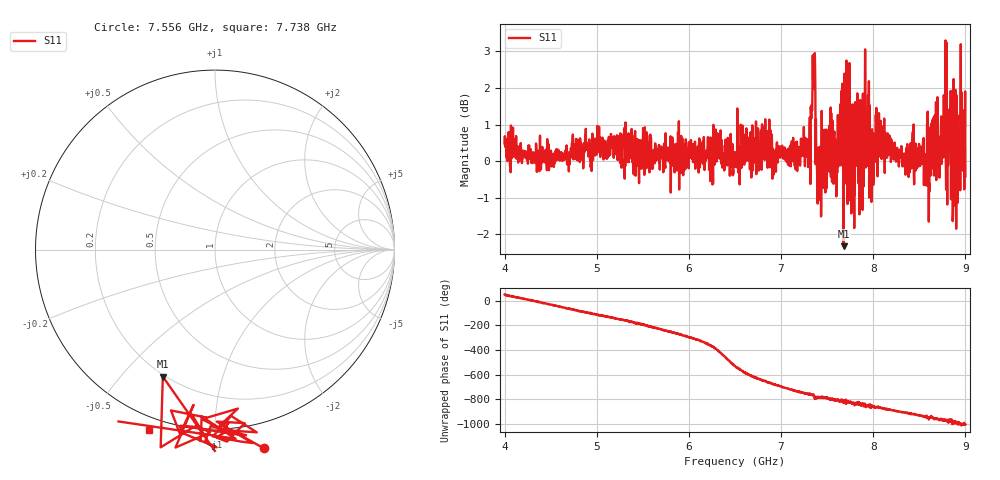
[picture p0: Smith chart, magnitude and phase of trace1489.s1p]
! Created with skrf 1.8.0 (http://scikit-rf.org).
# Hz S RI R 50.0
!freq ReS11 ImS11
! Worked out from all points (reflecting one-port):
!   1601 points, 4 GHz to 9 GHz, reference 50 ohm
!   lowest |S11| = -2.3 dB at 7.678 GHz (marker M1), VSWR 7.50, Z = 9.58 - j32.7 ohm
!   phase of S11 starts at 50 deg and turns -1056 deg over the sweep
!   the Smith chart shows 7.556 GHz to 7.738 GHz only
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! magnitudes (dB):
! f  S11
! 4 GHz  0.5
! 4.625 GHz  0.0
! 5.25 GHz  0.0
! 5.875 GHz  0.4
! 6.5 GHz  -0.1
! 6.806 GHz  0.4
! 7.125 GHz  0.4
! 7.294 GHz  -0.2
! 7.347 GHz  2.2
! 7.366 GHz  3.0
! 7.412 GHz  -0.5
! 7.466 GHz  -0.2
! 7.588 GHz  0.6
! 7.678 GHz  -2.3
! 7.75 GHz  -0.8
! 7.769 GHz  -0.8
! 7.822 GHz  0.0
! 7.928 GHz  0.4
! 7.981 GHz  -1.1
! 8.05 GHz  0.9
! 8.375 GHz  0.3
! 8.603 GHz  -1.7
! 8.656 GHz  1.2
! 8.728 GHz  0.2
! 8.772 GHz  0.5
! 8.875 GHz  0.3
! 8.972 GHz  0.6
! 9 GHz  -0.4
